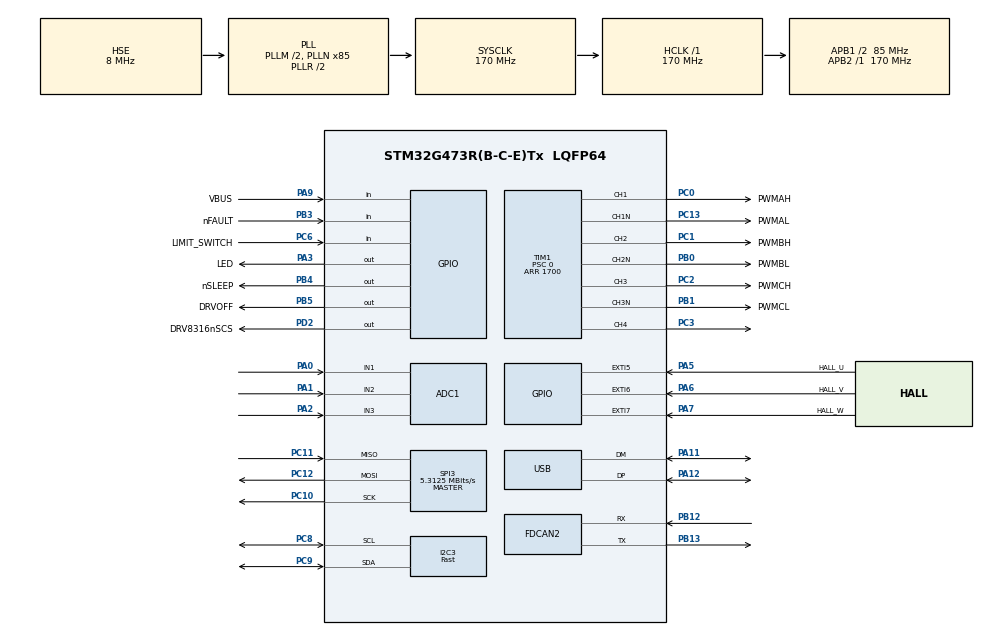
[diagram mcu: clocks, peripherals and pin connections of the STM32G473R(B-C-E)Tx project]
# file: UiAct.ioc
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ADC1.ClockPrescaler=ADC_CLOCK_ASYNC_DIV4
ADC1.ContinuousConvMode=DISABLE
ADC1.DMAContinuousRequests=DISABLE
ADC1.DiscontinuousConvMode=DISABLE
ADC1.EOCSelection=ADC_EOC_SEQ_CONV
ADC1.EnableInjectedConversion=ENABLE
ADC1.EnableRegularConversion=DISABLE
ADC1.ExternalTrigInjecConv=ADC_EXTERNALTRIGINJEC_T1_CC4
ADC1.ExternalTrigInjecConvEdge=ADC_EXTERNALTRIGINJECCONV_EDGE_RISING
ADC1.InjNumberOfConversion=3
ADC1.InjectedChannel-16\#ChannelInjectedConversion=ADC_CHANNEL_1
ADC1.InjectedChannel-17\#ChannelInjectedConversion=ADC_CHANNEL_2
ADC1.InjectedChannel-18\#ChannelInjectedConversion=ADC_CHANNEL_3
ADC1.InjectedOffsetNumber-16\#ChannelInjectedConversion=ADC_OFFSET_NONE
ADC1.InjectedOffsetNumber-17\#ChannelInjectedConversion=ADC_OFFSET_NONE
ADC1.InjectedOffsetNumber-18\#ChannelInjectedConversion=ADC_OFFSET_NONE
ADC1.InjectedRank-16\#ChannelInjectedConversion=1
ADC1.InjectedRank-17\#ChannelInjectedConversion=2
ADC1.InjectedRank-18\#ChannelInjectedConversion=3
ADC1.InjectedSamplingTime-16\#ChannelInjectedConversion=ADC_SAMPLETIME_24CYCLES_5
ADC1.InjectedSamplingTime-17\#ChannelInjectedConversion=ADC_SAMPLETIME_24CYCLES_5
ADC1.InjectedSamplingTime-18\#ChannelInjectedConversion=ADC_SAMPLETIME_24CYCLES_5
ADC1.Overrun=ADC_OVR_DATA_OVERWRITTEN
ADC1.injectedQueueMode=DISABLE
ADC1.master=1
ADC5.Channel-1\#ChannelRegularConversion=ADC_CHANNEL_VREFINT
ADC5.Channel-2\#ChannelRegularConversion=ADC_CHANNEL_TEMPSENSOR_ADC5
ADC5.ClockPrescaler=ADC_CLOCK_ASYNC_DIV4
ADC5.ContinuousConvMode=DISABLE
ADC5.DMAContinuousRequests=DISABLE
ADC5.EOCSelection=ADC_EOC_SINGLE_CONV
ADC5.NbrOfConversion=2
ADC5.NbrOfConversionFlag=1
ADC5.OffsetNumber-1\#ChannelRegularConversion=ADC_OFFSET_NONE
ADC5.OffsetNumber-2\#ChannelRegularConversion=ADC_OFFSET_NONE
ADC5.Overrun=ADC_OVR_DATA_OVERWRITTEN
ADC5.Rank-1\#ChannelRegularConversion=1
ADC5.Rank-2\#ChannelRegularConversion=2
ADC5.SamplingTime-1\#ChannelRegularConversion=ADC_SAMPLETIME_640CYCLES_5
ADC5.SamplingTime-2\#ChannelRegularConversion=ADC_SAMPLETIME_640CYCLES_5
FDCAN2.AutoRetransmission=ENABLE
FDCAN2.CalculateBaudRateNominal=500000
FDCAN2.CalculateTimeBitNominal=2000
FDCAN2.CalculateTimeQuantumNominal=125.0
FDCAN2.Mode=FDCAN_MODE_NORMAL
FDCAN2.NominalPrescaler=1
FDCAN2.NominalSyncJumpWidth=2
FDCAN2.NominalTimeSeg1=13
FDCAN2.NominalTimeSeg2=2
FDCAN2.StdFiltersNbr=1
I2C3.I2C_Coeff_DF=2
I2C3.I2C_Speed_Mode=I2C_Fast
I2C3.Timing=0x10801642
Mcu.Family=STM32G4
Mcu.Name=STM32G473R(B-C-E)Tx
Mcu.Package=LQFP64
NVIC.ADC1_2_IRQn=true\:0\:0\:false\:false\:true\:true\:true\:true
NVIC.EXTI9_5_IRQn=true\:0\:0\:false\:false\:true\:true\:true\:true
NVIC.FDCAN2_IT0_IRQn=true\:0\:0\:false\:false\:true\:true\:true\:true
NVIC.PriorityGroup=NVIC_PRIORITYGROUP_4
NVIC.TIM2_IRQn=true\:0\:0\:false\:false\:true\:true\:true\:true
NVIC.TIM6_DAC_IRQn=true\:0\:0\:false\:false\:true\:true\:true\:true
NVIC.USB_LP_IRQn=true\:0\:0\:false\:false\:true\:false\:true\:true
PA0.Mode=IN1-Single-Ended
PA0.Signal=ADC1_IN1
PA1.Mode=IN2-Single-Ended
PA1.Signal=ADC1_IN2
PA11.Mode=Device
PA11.Signal=USB_DM
PA12.Mode=Device
PA12.Signal=USB_DP
PA13.Mode=Serial_Wire
PA13.Signal=SYS_JTMS-SWDIO
PA14.Mode=Serial_Wire
PA14.Signal=SYS_JTCK-SWCLK
PA2.Mode=IN3-Single-Ended
PA2.Signal=ADC1_IN3
PA3.GPIO_Label=LED
PA3.GPIO_PuPd=GPIO_PULLDOWN
PA3.Signal=GPIO_Output
PA5.GPIO_Label=HALL_U
PA5.GPIO_ModeDefaultEXTI=GPIO_MODE_IT_RISING_FALLING
PA5.GPIO_PuPd=GPIO_PULLUP
PA5.Signal=GPXTI5
PA6.GPIO_Label=HALL_V
PA6.GPIO_ModeDefaultEXTI=GPIO_MODE_IT_RISING_FALLING
PA6.GPIO_PuPd=GPIO_PULLUP
PA6.Signal=GPXTI6
PA7.GPIO_Label=HALL_W
PA7.GPIO_ModeDefaultEXTI=GPIO_MODE_IT_RISING_FALLING
PA7.GPIO_PuPd=GPIO_PULLUP
PA7.Signal=GPXTI7
PA9.GPIO_Label=VBUS
PA9.GPIO_PuPd=GPIO_PULLDOWN
PA9.Signal=GPIO_Input
PB0.GPIO_Label=PWMBL
PB0.Mode=PWM Generation2 CH2 CH2N
PB0.Signal=TIM1_CH2N
PB1.GPIO_Label=PWMCL
PB1.Mode=PWM Generation3 CH3 CH3N
PB1.Signal=TIM1_CH3N
PB12.Mode=FDCAN_Activate
PB12.Signal=FDCAN2_RX
PB13.Mode=FDCAN_Activate
PB13.Signal=FDCAN2_TX
PB3.GPIO_Label=nFAULT
PB3.GPIO_PuPd=GPIO_NOPULL
PB3.Signal=GPIO_Input
PB4.GPIO_Label=nSLEEP
PB4.GPIO_PuPd=GPIO_NOPULL
PB4.Signal=GPIO_Output
PB5.GPIO_Label=DRVOFF
PB5.Signal=GPIO_Output
PC0.GPIO_Label=PWMAH
PC0.Signal=S_TIM1_CH1
PC1.GPIO_Label=PWMBH
PC1.Signal=S_TIM1_CH2
PC10.Mode=Full_Duplex_Master
PC10.Signal=SPI3_SCK
PC11.Mode=Full_Duplex_Master
PC11.Signal=SPI3_MISO
PC12.Mode=Full_Duplex_Master
PC12.Signal=SPI3_MOSI
PC13.GPIO_Label=PWMAL
PC13.Mode=PWM Generation1 CH1 CH1N
PC13.Signal=TIM1_CH1N
PC2.GPIO_Label=PWMCH
PC2.Signal=S_TIM1_CH3
PC3.Signal=S_TIM1_CH4
PC6.GPIO_Label=LIMIT_SWITCH
PC6.GPIO_PuPd=GPIO_PULLDOWN
PC6.Signal=GPIO_Input
PC8.Mode=I2C
PC8.Signal=I2C3_SCL
PC9.Mode=I2C
PC9.Signal=I2C3_SDA
PD2.GPIO_Label=DRV8316nSCS
PD2.Signal=GPIO_Output
PF0-OSC_IN.Mode=HSE-External-Clock-Source
PF0-OSC_IN.Signal=RCC_OSC_IN
ProjectManager.HeapSize=0x200
ProjectManager.StackSize=0x400
ProjectManager.TargetToolchain=STM32CubeIDE
RCC.ADC12CLockSelection=RCC_ADC12CLKSOURCE_PLL
RCC.ADC12Freq_Value=170000000
RCC.ADC345Freq_Value=170000000
RCC.AHBFreq_Value=170000000
RCC.APB1CLKDivider=RCC_HCLK_DIV2
RCC.APB1Freq_Value=85000000
RCC.APB1TimFreq_Value=170000000
RCC.APB2Freq_Value=170000000
RCC.APB2TimFreq_Value=170000000
RCC.CK48CLockSelection=RCC_USBCLKSOURCE_HSI48
RCC.CortexFreq_Value=170000000
RCC.EXTERNAL_CLOCK_VALUE=12288000
RCC.EnbaleCSS=true
RCC.FDCANCLockSelection=RCC_FDCANCLKSOURCE_HSE
RCC.HCLKFreq_Value=170000000
RCC.HSE_VALUE=8000000
RCC.HSI48_VALUE=48000000
RCC.HSI_VALUE=16000000
RCC.LSE_VALUE=32768
RCC.PLLM=RCC_PLLM_DIV2
RCC.PLLN=85
RCC.PLLSourceVirtual=RCC_PLLSOURCE_HSE
RCC.SYSCLKFreq_VALUE=170000000
RCC.SYSCLKSource=RCC_SYSCLKSOURCE_PLLCLK
RCC.USBFreq_Value=48000000
RCC.VCOOutputFreq_Value=340000000
SH.S_TIM1_CH1.0=TIM1_CH1,PWM Generation1 CH1 CH1N
SH.S_TIM1_CH2.0=TIM1_CH2,PWM Generation2 CH2 CH2N
SH.S_TIM1_CH3.0=TIM1_CH3,PWM Generation3 CH3 CH3N
SH.S_TIM1_CH4.0=TIM1_CH4,PWM Generation4 CH4
SPI3.BaudRatePrescaler=SPI_BAUDRATEPRESCALER_16
SPI3.CLKPhase=SPI_PHASE_2EDGE
SPI3.CalculateBaudRate=5.3125 MBits/s
SPI3.DataSize=SPI_DATASIZE_16BIT
SPI3.Direction=SPI_DIRECTION_2LINES
SPI3.Mode=SPI_MODE_MASTER
SPI3.VirtualType=VM_MASTER
TIM1.AutoReloadPreload=TIM_AUTORELOAD_PRELOAD_ENABLE
TIM1.AutomaticOutput=TIM_AUTOMATICOUTPUT_ENABLE
TIM1.BreakState=TIM_BREAK_DISABLE
TIM1.Channel-PWM\ Generation1\ CH1=TIM_CHANNEL_1
TIM1.Channel-PWM\ Generation1\ CH1\ CH1N=TIM_CHANNEL_1
TIM1.Channel-PWM\ Generation2\ CH2=TIM_CHANNEL_2
TIM1.Channel-PWM\ Generation2\ CH2\ CH2N=TIM_CHANNEL_2
TIM1.Channel-PWM\ Generation3\ CH3=TIM_CHANNEL_3
TIM1.Channel-PWM\ Generation3\ CH3\ CH3N=TIM_CHANNEL_3
TIM1.Channel-PWM\ Generation4\ CH4=TIM_CHANNEL_4
TIM1.CounterMode=TIM_COUNTERMODE_CENTERALIGNED1
TIM1.DeadTime=50
TIM1.OffStateIDLEMode=TIM_OSSI_ENABLE
TIM1.OffStateRunMode=TIM_OSSR_ENABLE
TIM1.PeriodNoDither=1700
TIM1.Prescaler=0
TIM1.PulseNoDither_2=0
TIM1.PulseNoDither_3=0
TIM1.PulseNoDither_4=150
TIM1.RepetitionCounter=0
TIM1.TIM_MasterOutputTrigger=TIM_TRGO_RESET
TIM1.TIM_MasterOutputTrigger2=TIM_TRGO2_OC4REF
TIM1.TIM_MasterSlaveMode=TIM_MASTERSLAVEMODE_DISABLE
TIM2.AutoReloadPreload=TIM_AUTORELOAD_PRELOAD_ENABLE
TIM2.TIM_MasterOutputTrigger=TIM_TRGO_UPDATE
TIM6.PeriodNoDither=999
TIM6.Prescaler=169
USB_DEVICE.CLASS_NAME_FS=CDC
USB_DEVICE.VirtualMode=Cdc
USB_DEVICE.VirtualModeFS=Cdc_FS
VP_ADC5_TempSens_Input.Mode=IN-TempSens
VP_ADC5_Vref_Input.Mode=IN-Vrefint
VP_RCC_VS_USB.Mode=USB_FS
VP_SYS_VS_DBSignals.Mode=DisableDeadBatterySignals
VP_TIM1_VS_ClockSourceINT.Mode=Internal
VP_TIM2_VS_ClockSourceINT.Mode=Internal
VP_TIM6_VS_ClockSourceINT.Mode=Enable_Timer
VP_USB_DEVICE_VS_USB_DEVICE_CDC_FS.Mode=CDC_FS
board=custom

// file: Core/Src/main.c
/* USER CODE BEGIN Header */
/**
  ******************************************************************************
  * @file           : main.c
  * @brief          : Main program body
  ******************************************************************************
  * @attention
  *
  * Copyright (c) 2026 STMicroelectronics.
  * All rights reserved.
  *
  * This software is licensed under terms that can be found in the LICENSE file
  * in the root directory of this software component.
  * If no LICENSE file comes with this software, it is provided AS-IS.
  *
  ******************************************************************************
  */
/* USER CODE END Header */
#include "main.h"
#include "adc.h"
#include "fdcan.h"
#include "i2c.h"
#include "spi.h"
#include "tim.h"
#include "usb_device.h"
#include "gpio.h"

/* USER CODE BEGIN Includes */

#include "bootloader.h"
#include "TestUSB.h"
#include "testcan.h"
#include "testhall.h"
#include "MotorApp.h"
#include "SPITest.h"
#include "Diagnostics.h"
#include "plot.h"
#include "Commcalib.h"
#include "TestADC.h"
#include "TempSensor.h"
#include "TempTest.h"
#include "CANBus.h"

/* USER CODE END Includes */

/* USER CODE BEGIN PV */

  uint32_t last_encoder = 0;
  uint32_t last_usb     = 0;
  uint32_t lastTempRead = 0;
//  uint32_t last_can = 0;
  //uint8_t testDone = 0;
  //uint8_t diagDone = 0;
  //uint8_t spiTestDone = 0;
  //uint8_t calibDone = 0;
  //uint8_t lastPressed = 0;

  extern volatile uint16_t adc_raw[3];
  extern volatile uint32_t adc_cb_count;

/* USER CODE END PV */

void SystemClock_Config(void);

int main(void)
{

  /* USER CODE BEGIN 1 */

  checkAndJumpToBootloader();

  /* USER CODE END 1 */

  /* MCU Configuration--------------------------------------------------------*/

  /* Reset of all peripherals, Initializes the Flash interface and the Systick. */
  HAL_Init();

  /* Configure the system clock */
  SystemClock_Config();

  /* Initialize all configured peripherals */
  MX_GPIO_Init();
  MX_USB_Device_Init();
  MX_I2C3_Init();
  MX_FDCAN2_Init();
  MX_TIM2_Init();
  MX_SPI3_Init();
  MX_TIM1_Init();
  MX_ADC1_Init();
  MX_ADC5_Init();
  MX_TIM6_Init();
  /* USER CODE BEGIN 2 */

  HAL_TIM_Base_Start(&htim2);
  HAL_Delay(500);

  MotorApp_Init();
  TestADC_Init();
//  TEMPTEST_Init();

  CANBus_Init();
//  CANBus_EnableAutoEcho(0);   /* optional */

  uint8_t payload[8] = {1,2,3,4,5,6,7,8};

  HAL_Delay(10);

  /* USER CODE END 2 */

  /* Infinite loop */
  /* USER CODE BEGIN WHILE */
  while (1)
  {

	  uint32_t now = HAL_GetTick();

	  if (now - last_usb >= 500)
	  {
		  last_usb = now;
		  TESTUSB_Update();
	  }

//	  CANBus_Update();
//
//	  /* Handle incoming frames */
//	  uint32_t id;
//	  uint8_t  data[8];
//	  uint8_t  len;
//	  while (CANBus_Receive(&id, data, &len))
//	  {
//		  /* do something with id/data/len */
//	  }
//
//	  CANBus_Send(0x123, payload, 8);
//	  HAL_Delay(100);

	  MotorApp_Run();

	  TestADC_Run();
//
//
//	  static uint32_t lastDiag = 0;
//	  if (now - lastDiag >= 1000)
//	  {
//	      lastDiag = now;
//	      Plot_Int("plot_dropped", (int32_t)Plot_DroppedCount());
//	      Plot_Int("plot_queued",  (int32_t)Plot_QueuedBytes());
//	  }
//
//
////	  TEMPTEST_Run();
//
	  static uint32_t lastPlot = 0;
	  if (now - lastPlot >= 10)
	  {
		  lastPlot = now;
		  Plot_Flush();
	  }

    /* USER CODE END WHILE */

  }
}

void SystemClock_Config(void)
{
  RCC_OscInitTypeDef RCC_OscInitStruct = {0};
  RCC_ClkInitTypeDef RCC_ClkInitStruct = {0};
  RCC_CRSInitTypeDef pInit = {0};

  /** Configure the main internal regulator output voltage
  */
  HAL_PWREx_ControlVoltageScaling(PWR_REGULATOR_VOLTAGE_SCALE1_BOOST);

  /** Initializes the RCC Oscillators according to the specified parameters
  * in the RCC_OscInitTypeDef structure.
  */
  RCC_OscInitStruct.OscillatorType = RCC_OSCILLATORTYPE_HSI48|RCC_OSCILLATORTYPE_HSE;
  RCC_OscInitStruct.HSEState = RCC_HSE_BYPASS;
  RCC_OscInitStruct.HSI48State = RCC_HSI48_ON;
  RCC_OscInitStruct.PLL.PLLState = RCC_PLL_ON;
  RCC_OscInitStruct.PLL.PLLSource = RCC_PLLSOURCE_HSE;
  RCC_OscInitStruct.PLL.PLLM = RCC_PLLM_DIV2;
  RCC_OscInitStruct.PLL.PLLN = 85;
  RCC_OscInitStruct.PLL.PLLP = RCC_PLLP_DIV2;
  RCC_OscInitStruct.PLL.PLLQ = RCC_PLLQ_DIV2;
  RCC_OscInitStruct.PLL.PLLR = RCC_PLLR_DIV2;
  if (HAL_RCC_OscConfig(&RCC_OscInitStruct) != HAL_OK)
  {
    Error_Handler();
  }

  /** Initializes the CPU, AHB and APB buses clocks
  */
  RCC_ClkInitStruct.ClockType = RCC_CLOCKTYPE_HCLK|RCC_CLOCKTYPE_SYSCLK
                              |RCC_CLOCKTYPE_PCLK1|RCC_CLOCKTYPE_PCLK2;
  RCC_ClkInitStruct.SYSCLKSource = RCC_SYSCLKSOURCE_PLLCLK;
  RCC_ClkInitStruct.AHBCLKDivider = RCC_SYSCLK_DIV1;
  RCC_ClkInitStruct.APB1CLKDivider = RCC_HCLK_DIV2;
  RCC_ClkInitStruct.APB2CLKDivider = RCC_HCLK_DIV1;

  if (HAL_RCC_ClockConfig(&RCC_ClkInitStruct, FLASH_LATENCY_4) != HAL_OK)
  {
    Error_Handler();
  }

  /** Enables the Clock Security System
  */
  HAL_RCC_EnableCSS();

  /** Enable the SYSCFG APB clock
  */
  __HAL_RCC_CRS_CLK_ENABLE();

  /** Configures CRS
  */
  pInit.Prescaler = RCC_CRS_SYNC_DIV1;
  pInit.Source = RCC_CRS_SYNC_SOURCE_USB;
  pInit.Polarity = RCC_CRS_SYNC_POLARITY_RISING;
  pInit.ReloadValue = __HAL_RCC_CRS_RELOADVALUE_CALCULATE(48000000,1000);
  pInit.ErrorLimitValue = 34;
  pInit.HSI48CalibrationValue = 32;

  HAL_RCCEx_CRSConfig(&pInit);
}

void Error_Handler(void)
{
  __disable_irq();
  while (1)
  {
  }
}
